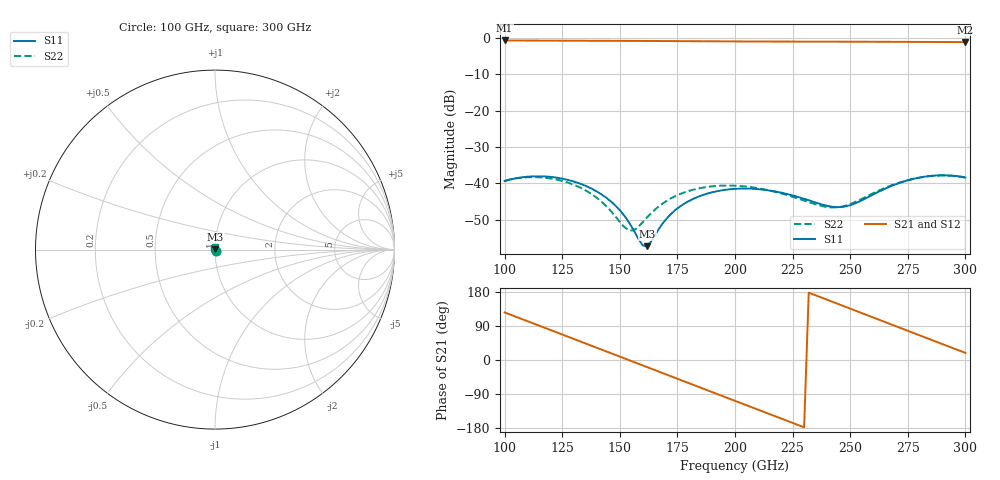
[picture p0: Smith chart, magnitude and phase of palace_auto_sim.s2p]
#  GHZ S DB R 50
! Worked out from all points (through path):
!   101 points, 100 GHz to 300 GHz, reference 50 ohm
!   highest |S21| = -0.71 dB at 100 GHz (marker M1); lowest = -1.2 dB at 300 GHz (marker M2)
!   group delay of S21, straight-line fit = 6.48 ps
!   lowest |S11| = -57.3 dB at 162 GHz (marker M3), VSWR 1.00, Z = 50.1 + j0.0642 ohm
!   |S11| at or under -10 dB: start of sweep to end of sweep
!   |S22| runs from -53.0 to -37.9 dB; largest |S21 - S12| = 1.6e-13
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100  -39.39 -47.8  -0.71 125.5  -0.71 125.5  -39.32 -47.7
108  -38.31 -69.6  -0.74 106.9  -0.74 106.9  -38.42 -69.4
116  -38.08 -91.7  -0.75 88.3  -0.75 88.3  -38.39 -91.6
124  -38.59 -115.1  -0.77 69.6  -0.77 69.6  -39.19 -115.3
134  -40.39 -146.5  -0.79 46.3  -0.79 46.3  -41.56 -148.5
146  -44.92 170.2  -0.82 18.3  -0.82 18.3  -47.55 158.4
154  -50.75 130.2  -0.84 -0.4  -0.84 -0.4  -52.99 84.0
160  -57.12 64.1  -0.85 -14.4  -0.85 -14.4  -50.65 14.1
162  -57.29 28.0  -0.86 -19.1  -0.86 -19.1  -49.25 -1.5
168  -51.56 -40.0  -0.88 -33.1  -0.88 -33.1  -45.82 -36.1
174  -47.40 -73.4  -0.89 -47.2  -0.89 -47.2  -43.55 -63.1
184  -43.69 -116.3  -0.93 -70.5  -0.93 -70.5  -41.44 -103.5
192  -42.19 -148.0  -0.95 -89.2  -0.95 -89.2  -40.72 -134.7
200  -41.52 -178.8  -0.98 -107.8  -0.98 -107.8  -40.66 -165.8
218  -42.31 113.7  -1.02 -149.7  -1.02 -149.7  -42.43 123.7
226  -43.51 82.6  -1.03 -168.3  -1.03 -168.3  -43.91 89.9
234  -45.08 46.8  -1.03 173.0  -1.03 173.0  -45.59 50.4
248  -46.35 -38.5  -1.05 140.3  -1.05 140.3  -46.14 -39.2
258  -43.72 -98.8  -1.07 116.9  -1.07 116.9  -43.34 -97.4
268  -40.71 -143.9  -1.09 93.5  -1.09 93.5  -40.53 -142.1
282  -38.20 165.2  -1.12 60.7  -1.12 60.7  -38.24 165.3
300  -38.41 104.5  -1.16 18.7  -1.16 18.7  -38.40 100.4
